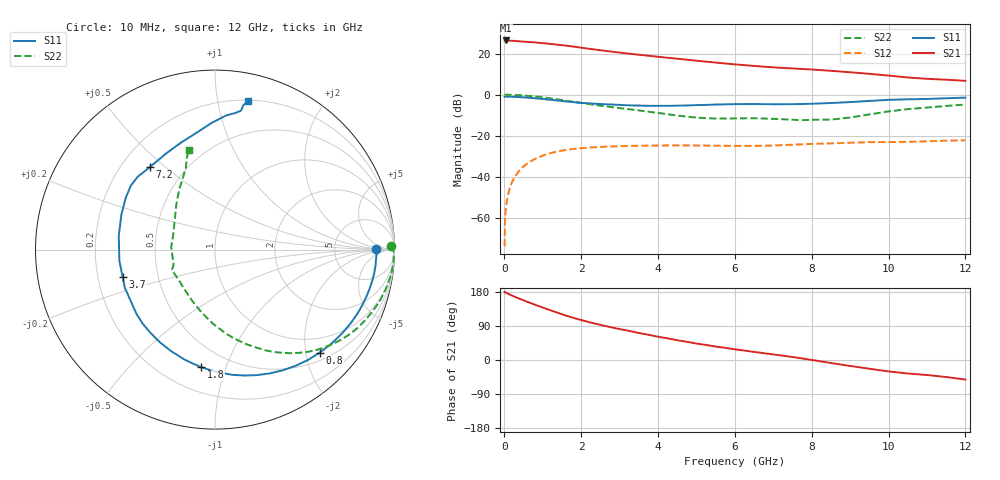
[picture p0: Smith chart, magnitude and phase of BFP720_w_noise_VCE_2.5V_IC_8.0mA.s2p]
! Infineon Technologies  Discrete & RF Semiconductors
! BFP720
! VCE =  2.5 V,  IC =  8.0 mA
! Common Emitter S-Parameters:  Aug 2012
# GHz  S  MA  R  50
!  f  S11  S21  S12  S22
! GHz  MAG  ANG  MAG  ANG  MAG  ANG  MAG  ANG
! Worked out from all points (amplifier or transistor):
!   105 points, 10 MHz to 12 GHz, reference 50 ohm
!   highest |S21| = 26.5 dB at 50 MHz (marker M1)
!   |S21| within 3 dB of that: start of sweep to 1.798 GHz
!   unconditionally stable (mu >= 1): start of sweep to 10.64 MHz; 5.91 GHz to 11.34 GHz
!   at 300 MHz: K = 0.07, MSG = 32.8 dB, |S12| = -39.4 dB
!   at 3.6 GHz: K = 0.63, MSG = 22.1 dB, |S12| = -24.9 dB
!   at 12 GHz: K = 0.81, MSG = 14.5 dB, |S12| = -22.3 dB
!   lowest NFmin = 0.48 dB at 450 MHz
!   S11 on the Smith chart (normalised r, x): 10 MHz: 18, +0; 800 MHz: 0.66, -2.28; 1.8 GHz: 0.36, -0.82; 3.7 GHz: 0.31, -0.13; 7.2 GHz: 0.32, +0.44; 12 GHz: 0.21, +1.23
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0.01  0.8952 0.1  20.96 180.0  0.0002 -69.5  0.9782 1.1
0.02  0.9024 -1.1  20.92 178.4  0.0009 95.8  0.9959 -0.6
0.05  0.8989 -2.7  21.14 177.1  0.0019 86.6  0.9967 -1.7
0.35  0.8789 -19.5  20.28 163.6  0.0125 79.1  0.9768 -13.0
0.6  0.8488 -33.2  19.48 153.6  0.0208 70.8  0.9402 -21.9
0.8  0.8185 -44.5  18.95 145.9  0.027 64.7  0.9059 -28.9
1  0.7873 -55.4  18.18 138.5  0.0325 58.8  0.863 -35.6
1.3  0.7368 -71.7  17.02 127.7  0.0394 50.5  0.7919 -45.1
1.6  0.6867 -87.4  15.85 117.4  0.0447 43.2  0.7179 -53.5
1.8  0.6594 -96.8  14.96 111.2  0.0474 38.8  0.671 -58.6
2.1  0.6241 -109.5  13.69 102.9  0.0503 33.3  0.6086 -65.3
2.4  0.6005 -120.9  12.54 95.1  0.0525 28.5  0.5557 -71.6
2.8  0.5762 -134.6  11.26 85.9  0.0546 23.3  0.4976 -79.0
3.7  0.5367 -163.4  9.043 67.6  0.057 14.4  0.3906 -95.3
4.1  0.5346 -176.2  8.272 59.8  0.0575 11.3  0.3488 -104.0
5  0.5571 159.4  6.784 43.4  0.0575 5.7  0.2766 -129.1
6.1  0.5891 141.5  5.422 26.9  0.0563 2.5  0.2644 -151.9
7.2  0.5861 128.5  4.543 12.1  0.0584 3.0  0.2527 -157.8
8.5  0.6268 107.2  3.837 -7.9  0.0648 -0.8  0.2469 160.4
9.5  0.7057 91.6  3.238 -23.1  0.0693 -5.3  0.3297 130.9
10.5  0.7724 81.1  2.637 -35.6  0.0705 -9.4  0.4441 113.4
12  0.8484 77.3  2.185 -51.6  0.0769 -16.2  0.575 104.5
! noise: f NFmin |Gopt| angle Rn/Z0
0.45  0.48  0.35  2  0.16
1.8  0.54  0.32  22  0.14
2.4  0.59  0.26  45  0.25
5.5  0.73  0.14  40  0.14
10  0.95  0.39  -84  0.22
